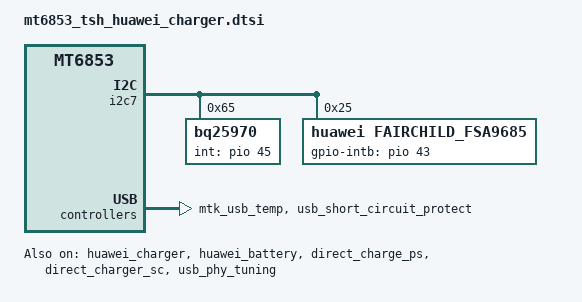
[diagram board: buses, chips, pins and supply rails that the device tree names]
&charger {
	ac_charger_current = <2695000>;
	ac_charger_input_current = <2300000>;
	fcp_charger_current = <2500000>;
	fcp_charger_input_current = <1400000>;
	non_std_ac_charger_current = <1200000>;
	pd_vbus_upper_bound = <9000000>;
	max_charger_voltage = <12000000>;
	bc12_charger = <22>; /* usb switch do bc12 */
	dpm_enable;
	battery_cv = <4380000>;
	iterm = <150000>;
	vbus_max_limit = <11500>;
	jeita_temp_t2_to_t3_cv = <4380000>;
	jeita_temp_t1_to_t2_cv = <4380000>;
	jeita_temp_t0_to_t1_cv = <4380000>;
	jeita_temp_t3_to_t4_cur = <1435000>;
	jeita_temp_t2_to_t3_cur = <2870000>;
	jeita_temp_t1_to_t2_cur = <1230000>;
	jeita_temp_t0_to_t1_cur = <410000>;
	vdpm_buf_limit = <100>;
	vdpm_para =
			"-32767", "4000", "4300", "50",
			"4000", "4200", "4500", "50",
			"4200", "32767", "4600", "50";
	charge_full_design = <4200000>;
};

&pio {
	bq25970_irq_pins_default: bq25970_irq_pins_default {
		pins_cmd_dat {
			pinmux = <PINMUX_GPIO45__FUNC_GPIO45>;
			slew-rate = <0>;
			bias-pull-up;
		};
	};
	fsa9685_irq_pins_default: fsa9685_irq_pins_default {
		pins_cmd_dat {
			pinmux = <PINMUX_GPIO43__FUNC_GPIO43>;
			slew-rate = <0>;
			bias-pull-up;
		};
	};
};

&i2c7 {
		bq25970@65 {
			compatible = "bq25970";
			pinctrl-names = "default";
			pinctrl-0 = <&bq25970_irq_pins_default>;
			gpio_int = <&pio 45 0x0>;
			switching_frequency = <675>;
			sense_r_config = <50>;
			sense_r_actual = <50>;
			reg = <0x65>;
			status = "ok";
		};
		fairchild_fsa9685@25 {
			compatible = "huawei,fairchild_fsa9685";
			reg = <0x25>;
			pinctrl-names = "default";
			pinctrl-0 = <&fsa9685_irq_pins_default>;
			fairchild_fsa9685,gpio-intb = <&pio 43 0x0>;
			fcp_support = <1>;
			scp_support = <1>;
			power_by_5v = <1>;
			close_bc12 = <1>;
			/* for rt8979 */
			interrupt-names = "vbus_change", "device_change", "detach",
					  "attach";
			/* auto_switch; */
			scp;
			dcd;
			dcd_timeout = <600>;  /* ms */
			intb_watchdog = <1000>;  /* ms */
			ovp_sel = <14500000>;  /* uV */
			status = "ok";
		};
};

&huawei_charger {
	compatible = "huawei,charger";
	status = "okay";
};

&huawei_battery {
	compatible = "huawei,battery";
	voltage_max_design = <4380000>;
	status = "okay";
};

&lk_charger{
	ac_charger_current = <1050000>;
	ac_charger_input_current = <1050000>;
	non_std_ac_charger_current = <1050000>;
	max_charger_voltage = <12000000>;
	is_power_path;
};

&direct_charge_ps {
	status = "ok";
};

&direct_charger {
	use_5A = <1>;
	volt_para =
		"4380", "2800", "1200";
	compensate_r = <20>;
	cc_cable_detect_enable = <1>;
	high_temp_hysteresis = <1>;
	full_path_res_max = <500>;
	super_ico_current = <2400>;
	scp_work_on_charger = <1>;
	standard_cable_full_path_res_max = <500>;
	first_cc_stage_timer_in_min = <0>;
	stage_need_to_jump = "1";
	is_show_ico_first = <1>;
	is_send_cable_type = <0>;
	temp_para =
		"-32767", "10", "0",
		"10", "45", "2800",
		"45", "32767", "0";
	status = "disable";
};

&direct_charger_sc {
	use_5A = <1>;
	dc_volt_ratio = <2>;
	max_adaptor_vset = <11000>;
	init_adapter_vset = <8800>;
	delta_err_10v2p25a = <150>;
	vol_err_th = <500>;
	adaptor_leakage_current_th = <600>;
	high_temp_hysteresis = <1>;
	gain_curr_10v2a = <300>;
	gain_curr_10v2p25a = <500>;
	init_delt_vset = <450>;
	vstep = <20>;
	max_dc_bat_vol = <4380>;
	max_current_for_none_standard_cable = <5000>;
	volt_para =
		"4100", "5000", "4600",
		"4250", "4600", "2900",
		"4400", "2900", "1200";
	compensate_r = <20>;
	cc_cable_detect_enable = <1>;
	full_path_res_max = <500>;
	scp_work_on_charger = <1>;
	standard_cable_full_path_res_max = <500>;
	first_cc_stage_timer_in_min = <10>;
	stage_need_to_jump = "-1";
	is_show_ico_first = <1>;
	is_send_cable_type = <0>;
	temp_para =
		"-32767", "10", "0",
		"10", "45", "5000",
		"45", "32767", "0";
	resist_para =
		"0", "300", "5000",
		"300", "500", "5000";
	std_resist_para =
		"0", "300", "5000",
		"300", "500", "5000";
	10v2p25a_cur_para =
		"-32767", "5500",  "2000",
		"5500",   "9000",  "2500",
		"9000",   "10000", "2250",
		"10000",  "10500", "2000",
		"10500",  "32767", "1500";
	status = "ok";
};

&bat_gm30 {
	bat_para =
			"SwdByd", "830000", "960000",
			"DesayGy", "130000", "220000",
			"NvtAtl", "1150000", "1300000",
			"ScudAtl", "250000", "350000";
	ntc_compensation_is = <1>;
	ntc_temp_compensation_para =
		"4000", "30",
		"3000", "20",
		"2000", "10",
		"1000", "0";
	min_fcc = <3010000>;
	max_fcc = <4200000>;
	dlpt_optimization;
	g_FG_PSEUDO100_T0 = <(97)>;
/*      Pseudo 100% percentage at T0*/
	g_FG_PSEUDO100_T1 = <(97)>;
/*      Pseudo 100% percentage at T1*/
	g_FG_PSEUDO100_T2 = <(97)>;
/*      Pseudo 100% percentage at T2*/
	g_FG_PSEUDO100_T3 = <(97)>;
/*      Pseudo 100% percentage at T3*/
	g_FG_PSEUDO100_T4 = <(97)>;
	CAR_TUNE_VALUE = <(100)>;
	#include "sunwoda_atl_4v41_4200mah_ext.dtsi"
	#include "desay_gy_4v41_4200mah_ext.dtsi"
	#include "nvt_atl_4v41_4200mah_ext.dtsi"
	#include "sucd_atl_4v41_4200mah_ext.dtsi"
};

&mt6360_pmu {
	mt6360,intr_gpio_num = <10>; /* direct defined GPIO num */
	mt6360,intr_gpio = <&pio 10 0x0>;
};

&mt6360_typec {
	mt6360pd,intr_gpio_num = <9>; /* direct defined GPIO num */
	mt6360pd,intr_gpio = <&pio 9 0x0>;
};

&usb_c_pinctrl {
	status = "disabled";
};

&power_thermalzone {
	status = "ok";
};

&mtk_usb_temp {
	status = "ok";
};

&usb_short_circuit_protect {
	status = "ok";
};

&usb_phy_tuning {
	h_u2_vrt_ref = <6>;
	h_u2_term_ref = <6>;
	h_u2_enhance = <3>;
	d_u2_vrt_ref = <6>;
	d_u2_term_ref = <6>;
	d_u2_enhance = <3>;
	status = "ok";
};
